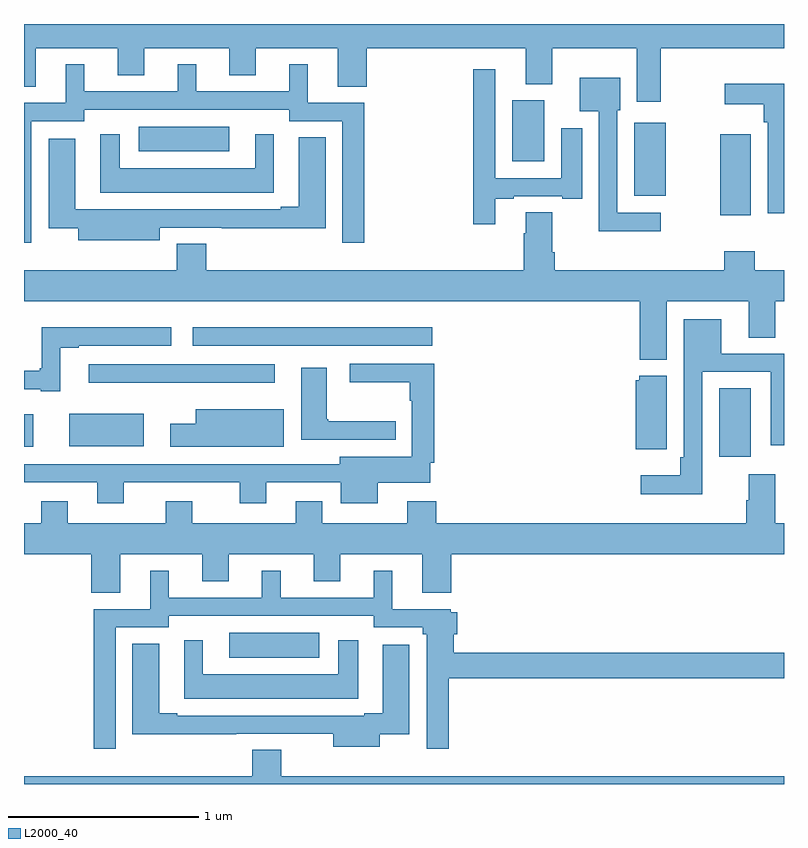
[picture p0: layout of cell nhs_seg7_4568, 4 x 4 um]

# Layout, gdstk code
import gdstk
lib = gdstk.Library(unit=1e-6, precision=1e-09)
def R(c, l, rs):  # rectangles x0, y0, x1, y1
    for r in rs: c.add(gdstk.rectangle(r[:2], r[2:], *l))
def P(c, l, *ps):  # polygons
    for p in ps: c.add(gdstk.Polygon(p, *l))
L2000_40 = (2000, 40)

nhs_seg7_4568 = lib.new_cell('nhs_seg7_4568')
R(nhs_seg7_4568, L2000_40, [(398.079,1074.665,398.554,1074.796), (400.658,1075.722,400.825,1076.084), (397,1075.775,397.048,1075.945), (397.238,1075.778,397.63,1075.948), (397.341,1076.111,398.32,1076.208), (397.887,1076.307,399.148,1076.404), (400.664,1076.994,400.825,1077.421), (400.211,1077.095,400.378,1077.481), (399.569,1077.278,399.739,1077.598), (397.605,1077.329,398.08,1077.46)])
P(nhs_seg7_4568, L2000_40, [(400.352,1077.872),(401,1077.872),(401,1078),(397,1078),(397,1077.67),(397.063,1077.67),(397.063,1077.872),(397.493,1077.872),(397.493,1077.73),(397.633,1077.73),(397.633,1077.872),(398.081,1077.872),(398.081,1077.73),(398.221,1077.73),(398.221,1077.872),(398.651,1077.872),(398.651,1077.67),(398.804,1077.67),(398.804,1077.872),(399.641,1077.872),(399.641,1077.683),(399.781,1077.683),(399.781,1077.872),(400.226,1077.872),(400.226,1077.591),(400.352,1077.591)],
  [(397.038,1077.217),(397.039,1077.217),(397.039,1077.489),(397.317,1077.489),(397.317,1077.549),(398.397,1077.549),(398.397,1077.489),(398.676,1077.489),(398.676,1076.85),(398.792,1076.85),(398.792,1077.585),(398.494,1077.585),(398.494,1077.787),(398.396,1077.787),(398.396,1077.645),(397.906,1077.645),(397.906,1077.787),(397.808,1077.787),(397.808,1077.645),(397.318,1077.645),(397.318,1077.787),(397.22,1077.787),(397.22,1077.585),(397,1077.585),(397,1076.85),(397.038,1076.85)],
  [(399.481,1077.081),(399.577,1077.081),(399.577,1077.093),(399.833,1077.093),(399.833,1077.081),(399.937,1077.081),(399.937,1077.451),(399.827,1077.451),(399.827,1077.189),(399.48,1077.189),(399.48,1077.763),(399.364,1077.763),(399.364,1076.946),(399.481,1076.946)],
  [(400.351,1077.006),(400.122,1077.006),(400.122,1077.546),(400.138,1077.546),(400.138,1077.718),(399.926,1077.718),(399.926,1077.542),(400.026,1077.542),(400.026,1076.909),(400.351,1076.909)],
  [(401,1077.686),(400.689,1077.686),(400.689,1077.578),(400.894,1077.578),(400.894,1077.482),(400.914,1077.482),(400.914,1077.003),(401,1077.003)],
  [(398.314,1077.421),(398.216,1077.421),(398.216,1077.241),(397.504,1077.241),(397.504,1077.421),(397.4,1077.421),(397.4,1077.113),(398.314,1077.113)],
  [(397.714,1076.928),(398.041,1076.928),(398.041,1076.926),(398.587,1076.926),(398.587,1077.403),(398.447,1077.403),(398.447,1077.037),(398.351,1077.037),(398.351,1077.024),(397.61,1077.024),(397.61,1077.025),(397.27,1077.025),(397.27,1077.397),(397.13,1077.397),(397.13,1076.926),(397.286,1076.926),(397.286,1076.861),(397.714,1076.861)],
  [(400.384,1076.54),(400.814,1076.54),(400.814,1076.35),(400.954,1076.35),(400.954,1076.54),(401,1076.54),(401,1076.704),(400.845,1076.704),(400.845,1076.803),(400.685,1076.803),(400.685,1076.704),(399.794,1076.704),(399.794,1076.8),(399.781,1076.8),(399.781,1077.008),(399.641,1077.008),(399.641,1076.9),(399.629,1076.9),(399.629,1076.704),(397.958,1076.704),(397.958,1076.843),(397.805,1076.843),(397.805,1076.704),(397,1076.704),(397,1076.54),(400.241,1076.54),(400.241,1076.234),(400.384,1076.234)],
  [(400.569,1076.169),(400.929,1076.169),(400.929,1075.782),(401,1075.782),(401,1076.265),(400.669,1076.265),(400.669,1076.446),(400.473,1076.446),(400.473,1075.72),(400.453,1075.72),(400.453,1075.624),(400.245,1075.624),(400.245,1075.526),(400.569,1075.526)],
  [(397.192,1076.295),(397.288,1076.295),(397.288,1076.307),(397.774,1076.307),(397.774,1076.404),(397.094,1076.404),(397.094,1076.188),(397.083,1076.188),(397.083,1076.176),(397,1076.176),(397,1076.078),(397.088,1076.078),(397.088,1076.067),(397.192,1076.067)],
  [(397.525,1075.587),(398.135,1075.587),(398.135,1075.478),(398.275,1075.478),(398.275,1075.587),(398.666,1075.587),(398.666,1075.478),(398.863,1075.478),(398.863,1075.586),(399.138,1075.586),(399.138,1075.69),(399.158,1075.69),(399.158,1076.211),(398.715,1076.211),(398.715,1076.114),(399.03,1076.114),(399.03,1076.018),(399.042,1076.018),(399.042,1075.723),(398.663,1075.723),(398.663,1075.683),(397,1075.683),(397,1075.587),(397.385,1075.587),(397.385,1075.478),(397.525,1075.478)],
  [(398.957,1075.91),(398.601,1075.91),(398.601,1075.921),(398.593,1075.921),(398.593,1076.191),(398.459,1076.191),(398.459,1075.812),(398.957,1075.812)],
  [(400.384,1076.149),(400.239,1076.149),(400.239,1076.124),(400.22,1076.124),(400.22,1075.763),(400.384,1075.763)],
  [(398.368,1075.972),(397.904,1075.972),(397.904,1075.897),(397.77,1075.897),(397.77,1075.775),(398.368,1075.775)],
  [(399.095,1075.006),(399.248,1075.006),(399.248,1075.208),(401,1075.208),(401,1075.372),(400.954,1075.372),(400.954,1075.63),(400.814,1075.63),(400.814,1075.493),(400.802,1075.493),(400.802,1075.372),(399.17,1075.372),(399.17,1075.489),(399.017,1075.489),(399.017,1075.372),(398.569,1075.372),(398.569,1075.489),(398.429,1075.489),(398.429,1075.372),(397.885,1075.372),(397.885,1075.489),(397.745,1075.489),(397.745,1075.372),(397.231,1075.372),(397.231,1075.489),(397.091,1075.489),(397.091,1075.372),(397,1075.372),(397,1075.208),(397.355,1075.208),(397.355,1075.006),(397.507,1075.006),(397.507,1075.208),(397.937,1075.208),(397.937,1075.066),(398.077,1075.066),(398.077,1075.208),(398.525,1075.208),(398.525,1075.066),(398.665,1075.066),(398.665,1075.208),(399.095,1075.208)],
  [(397.482,1074.825),(397.761,1074.825),(397.761,1074.885),(398.841,1074.885),(398.841,1074.825),(399.098,1074.825),(399.098,1074.789),(399.12,1074.789),(399.12,1074.186),(399.236,1074.186),(399.236,1074.556),(401,1074.556),(401,1074.692),(399.263,1074.692),(399.263,1074.789),(399.281,1074.789),(399.281,1074.903),(399.246,1074.903),(399.246,1074.921),(398.938,1074.921),(398.938,1075.123),(398.84,1075.123),(398.84,1074.981),(398.35,1074.981),(398.35,1075.123),(398.252,1075.123),(398.252,1074.981),(397.762,1074.981),(397.762,1075.123),(397.664,1075.123),(397.664,1074.921),(397.366,1074.921),(397.366,1074.186),(397.482,1074.186)],
  [(398.758,1074.757),(398.654,1074.757),(398.654,1074.577),(397.942,1074.577),(397.942,1074.757),(397.844,1074.757),(397.844,1074.449),(398.758,1074.449)],
  [(398.872,1074.262),(399.028,1074.262),(399.028,1074.733),(398.888,1074.733),(398.888,1074.373),(398.792,1074.373),(398.792,1074.36),(397.807,1074.36),(397.807,1074.373),(397.711,1074.373),(397.711,1074.739),(397.571,1074.739),(397.571,1074.262),(398.117,1074.262),(398.117,1074.264),(398.627,1074.264),(398.627,1074.197),(398.872,1074.197)],
  [(401,1074.04),(398.353,1074.04),(398.353,1074.179),(398.201,1074.179),(398.201,1074.04),(397,1074.04),(397,1074),(401,1074)])

lib.write_gds('nhs_seg7_4568.gds')
